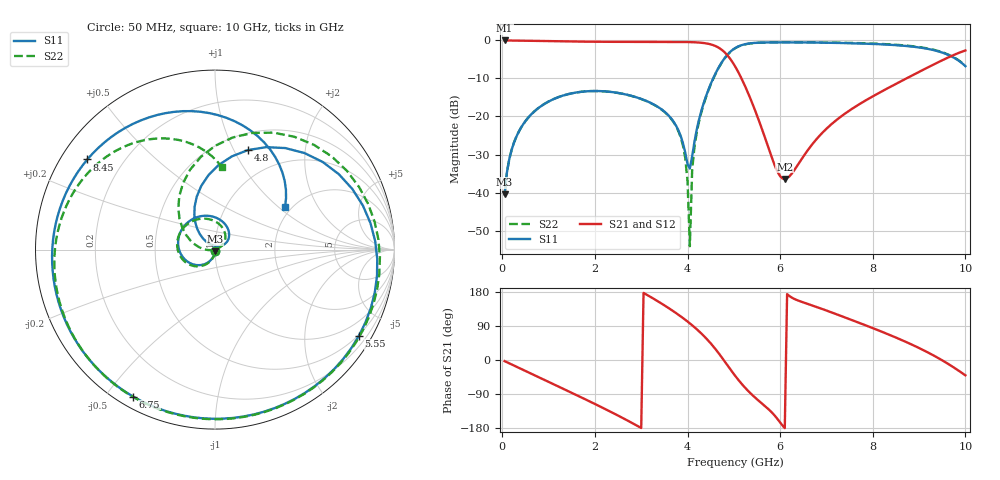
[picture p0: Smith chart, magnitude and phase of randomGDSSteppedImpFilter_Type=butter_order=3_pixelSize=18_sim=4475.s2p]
! freq	dB(S11)	phase(S11)	dB(S12)	phase(S12)
!  dB(S21)	phase(S21)	dB(S22)	phase(S22)
!S-par simulation data
#  GHz  S  DB  R 50
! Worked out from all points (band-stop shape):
!   200 points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, 50 MHz to 10 GHz, reference 50 ohm
!   highest |S21| = -0.01 dB at 50 MHz (marker M1); lowest = -36.4 dB at 6.1 GHz (marker M2)
!   |S21| within 3 dB of the highest: start of sweep to 4.79 GHz; 9.915 GHz to end of sweep
!   lowest |S11| = -40.5 dB at 50 MHz (marker M3), VSWR 1.02, Z = 50 - j0.942 ohm
!   |S11| at or under -10 dB: start of sweep to 4.554 GHz
!   |S22| runs from -54.1 to -0.5 dB; largest |S21 - S12| = 0
!   S11 on the Smith chart (normalised r, x): 50 MHz: 1.00, -0.02; 4.8 GHz: 0.68, +1.14; 5.55 GHz: 0.47, -3.56; 6.75 GHz: 0.04, -0.59; 8.45 GHz: 0.08, +0.32; 10 GHz: 1.84, +1.12
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0.05  -40.51 -91.1  -0.01 -3.0  -0.01 -3.0  -40.48 -89.9
0.2  -28.84 -101.7  -0.03 -11.7  -0.03 -11.7  -28.83 -100.7
0.5  -21.21 -120.8  -0.07 -29.0  -0.07 -29.0  -21.21 -118.2
1.75  -13.45 163.2  -0.32 -101.2  -0.32 -101.2  -13.45 172.8
2.7  -14.30 102.2  -0.37 -159.5  -0.37 -159.5  -14.32 117.9
3.4  -17.79 54.0  -0.37 151.9  -0.37 151.9  -17.84 70.8
3.9  -26.96 30.6  -0.41 110.9  -0.41 110.9  -27.58 29.2
4  -32.53 53.9  -0.43 101.5  -0.43 101.5  -37.00 19.8
4.05  -33.69 91.3  -0.44 96.7  -0.44 96.7  -54.10 178.1
4.1  -30.49 122.8  -0.46 91.7  -0.46 91.7  -34.05 -171.4
4.2  -23.39 137.9  -0.52 81.1  -0.52 81.1  -24.15 177.8
4.8  -4.67 71.7  -3.12 -3.3  -3.12 -3.3  -4.76 89.9
5.05  -1.85 31.4  -7.31 -45.2  -7.31 -45.2  -1.90 46.6
5.55  -0.59 -30.9  -21.37 -108.9  -21.37 -108.9  -0.60 -19.0
6.1  -0.51 -76.9  -36.44 -180.0  -36.44 -180.0  -0.48 -65.6
6.7  -0.55 -116.1  -27.21 143.7  -27.21 143.7  -0.51 -103.0
6.75  -0.56 -119.0  -26.46 141.6  -26.46 141.6  -0.51 -105.7
7.55  -0.75 -164.3  -18.00 105.4  -18.00 105.4  -0.66 -145.5
8.35  -1.13 150.7  -12.39 66.9  -12.39 66.9  -1.03 177.8
8.45  -1.20 144.8  -11.75 61.8  -11.75 61.8  -1.10 173.2
9.25  -2.37 92.3  -6.72 16.1  -6.72 16.1  -2.28 132.5
10  -6.78 31.6  -2.64 -40.5  -2.64 -40.5  -6.69 85.5
